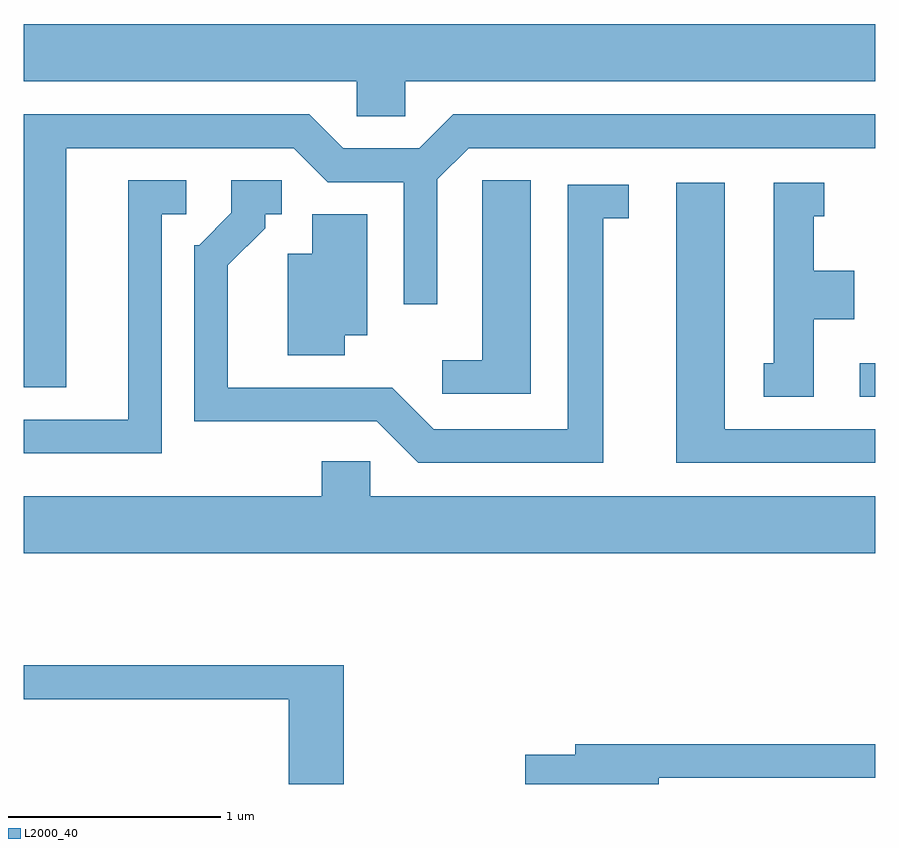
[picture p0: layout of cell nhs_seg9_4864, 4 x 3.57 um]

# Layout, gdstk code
import gdstk
lib = gdstk.Library(unit=1e-6, precision=1e-09)
def R(c, l, rs):  # rectangles x0, y0, x1, y1
    for r in rs: c.add(gdstk.rectangle(r[:2], r[2:], *l))
def P(c, l, *ps):  # polygons
    for p in ps: c.add(gdstk.Polygon(p, *l))
L2000_40 = (2000, 40)

nhs_seg9_4864 = lib.new_cell('nhs_seg9_4864')
R(nhs_seg9_4864, L2000_40, [(331.538,2070.251,331.611,2070.409)])
P(nhs_seg9_4864, L2000_40, [(329.404,2071.736),(331.611,2071.736),(331.611,2072.004),(327.611,2072.004),(327.611,2071.736),(329.176,2071.736),(329.176,2071.571),(329.404,2071.571)],
  [(327.809,2071.421),(328.879,2071.421),(329.039,2071.261),(329.396,2071.261),(329.396,2070.688),(329.554,2070.688),(329.554,2071.274),(329.702,2071.421),(331.611,2071.421),(331.611,2071.579),(329.629,2071.579),(329.469,2071.419),(329.112,2071.419),(328.952,2071.579),(327.611,2071.579),(327.611,2070.296),(327.809,2070.296)],
  [(329.994,2071.269),(329.766,2071.269),(329.766,2070.424),(329.578,2070.424),(329.578,2070.266),(329.994,2070.266)],
  [(330.334,2071.091),(330.453,2071.091),(330.453,2071.249),(330.166,2071.249),(330.166,2070.099),(329.537,2070.099),(329.342,2070.294),(328.569,2070.294),(328.569,2070.869),(328.744,2071.044),(328.744,2071.111),(328.823,2071.111),(328.823,2071.269),(328.586,2071.269),(328.586,2071.117),(328.434,2070.964),(328.411,2070.964),(328.411,2070.136),(329.269,2070.136),(329.464,2069.941),(330.334,2069.941)],
  [(328.259,2071.111),(328.373,2071.111),(328.373,2071.269),(328.101,2071.269),(328.101,2070.144),(327.611,2070.144),(327.611,2069.986),(328.259,2069.986)],
  [(331.324,2070.616),(331.514,2070.616),(331.514,2070.844),(331.324,2070.844),(331.324,2071.101),(331.373,2071.101),(331.373,2071.259),(331.136,2071.259),(331.136,2070.409),(331.088,2070.409),(331.088,2070.251),(331.324,2070.251)],
  [(331.611,2070.099),(330.904,2070.099),(330.904,2071.259),(330.676,2071.259),(330.676,2069.941),(331.611,2069.941)],
  [(329.119,2070.541),(329.224,2070.541),(329.224,2071.109),(328.966,2071.109),(328.966,2070.924),(328.851,2070.924),(328.851,2070.446),(329.119,2070.446)],
  [(331.611,2069.784),(329.239,2069.784),(329.239,2069.949),(329.011,2069.949),(329.011,2069.784),(327.611,2069.784),(327.611,2069.516),(331.611,2069.516)],
  [(329.114,2068.989),(327.611,2068.989),(327.611,2068.831),(328.856,2068.831),(328.856,2068.432),(329.114,2068.432)],
  [(330.594,2068.461),(331.611,2068.461),(331.611,2068.619),(330.201,2068.619),(330.201,2068.569),(329.966,2068.569),(329.966,2068.432),(330.594,2068.432)])

lib.write_gds('nhs_seg9_4864.gds')
